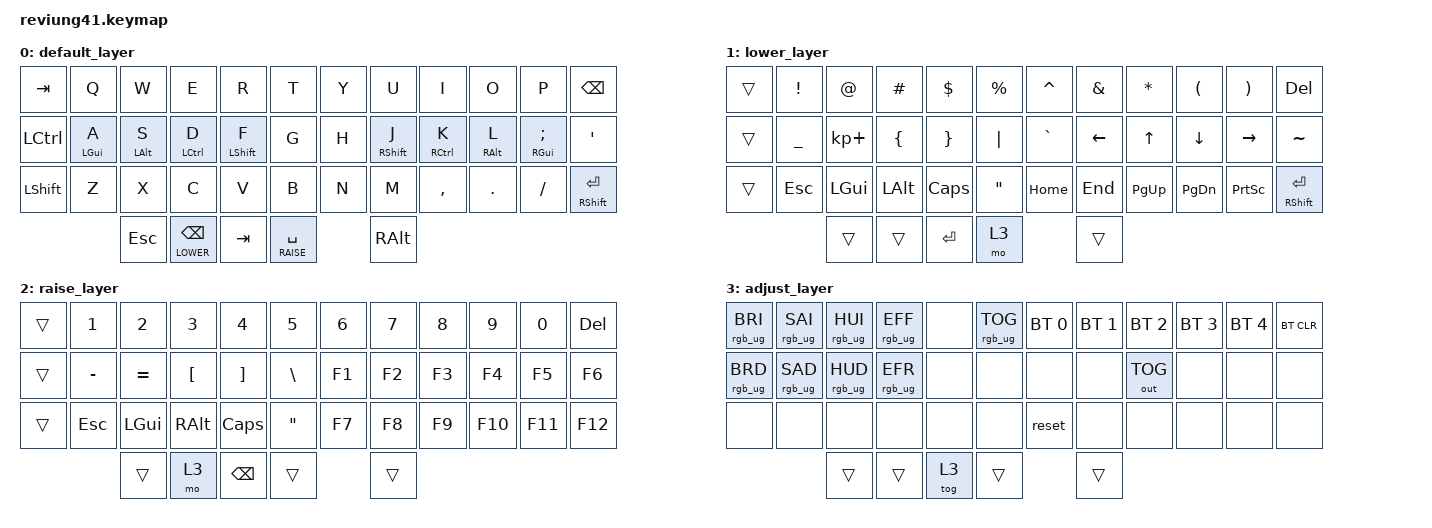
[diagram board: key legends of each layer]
/*
 * Copyright (c) 2020 The ZMK Contributors
 *
 * SPDX-License-Identifier: MIT
 */

#include <behaviors.dtsi>
#include <dt-bindings/zmk/keys.h>
#include <dt-bindings/zmk/bt.h>
#include <dt-bindings/zmk/rgb.h>
#include <dt-bindings/zmk/outputs.h>

#define DEFAULT 0
#define LOWER   1
#define RAISE   2

&mt {
    flavor = "tap-preferred";
    tapping-term-ms = <200>;
};

/ {
        keymap {
                compatible = "zmk,keymap";

                default_layer {
// -------------------------------------------------------------------------------------
// |  TAB |  Q   |  W   |  E    |  R    |  T  |   |  Y  |  U    |  I    |  O   |  P   |   BKSP   |
// | CTRL |GUI(A)|ALT(S)|CTRL(D)|SHFT(F)|  G  |   |  H  |SHFT(J)|CTRL(K)|ALT(L)|GUI(;)|   '      |
// | SHFT |  Z   |  X   |  C    |  V    |  B  |   |  N  |  M    |  ,    |  .   |  /   | SHFT(RET)|
//                   | ESC | LWR(BKSP) | TAB | RSE(SPC)  | ALT |
                        bindings = <
   &kp TAB   &kp Q     &kp W     &kp E      &kp R      &kp T &kp Y &kp U       &kp I      &kp O     &kp P        &kp BKSP
   &kp LCTRL &mt LGUI A &mt LALT S &mt LCTRL D &mt LSHFT F &kp G &kp H &mt RSHFT J  &mt RCTRL K &mt RALT L &mt RGUI SEMI &kp SQT
   &kp LSHFT &kp Z     &kp X     &kp C      &kp V      &kp B &kp N &kp M       &kp COMMA  &kp DOT   &kp FSLH     &mt RSHFT RET
                        &kp ESC  &lt LOWER BKSP &kp TAB &lt RAISE SPACE &kp RALT
                        >;
                };

                lower_layer {
// ----------------------------------------------------------------------------------
// |    |  !  |  @  |  #  |  $  |  %  |   |  ^  |  &  |  *  |  (  |  )  |    DEL    |
// |    |  _  |  +  |  {  |  }  | "|" |   |  `  | LFT | UP  | DWN | RGT |     ~     |
// |    | ESC | GUI | ALT | CAPS|  "  |   | HOME| END | PGUP| PGDN| PRSC| SHFT(RET) |
//                       |     |     | RET | ADJ |     |
                        bindings = <
   &trans &kp EXCL  &kp AT      &kp HASH &kp DLLR &kp PRCNT      &kp CARET &kp AMPS &kp ASTRK &kp LPAR  &kp RPAR  &kp DEL
   &trans &kp UNDERSCORE &kp KP_PLUS &kp LBRC &kp RBRC &kp PIPE       &kp GRAVE &kp LEFT &kp UP    &kp DOWN  &kp RIGHT &kp TILDE
   &trans &kp ESC   &kp LGUI    &kp LALT &kp CLCK &kp DQT        &kp HOME  &kp END  &kp PG_UP &kp PG_DN &kp PSCRN &mt RSHFT RET
                                 &trans      &trans       &kp RET        &mo 3       &trans
                        >;
                };

                raise_layer {
// -----------------------------------------------------------------------------------------
// |    |  1  |  2  |  3  |  4  |  5  |   |  6  |  7  |  8  |  9  |  0  | DEL |
// |    |  -  |  =  |  [  |  ]  |  \  |   | F1  | F2  | F3  | F4  | F5  | F6  |
// |    | ESC | GUI | ALT | CAPS|  "  |   | F7  | F8  | F9  | F10 | F11 | F12 |
//                       |     | ADJ | BKSP |    |     |
                        bindings = <
   &trans &kp N1    &kp N2    &kp N3    &kp N4    &kp N5        &kp N6    &kp N7    &kp N8    &kp N9    &kp N0    &kp DEL
   &trans &kp MINUS &kp EQUAL &kp LBKT  &kp RBKT  &kp BSLH      &kp F1    &kp F2    &kp F3    &kp F4    &kp F5    &kp F6
   &trans &kp ESC   &kp LGUI  &kp RALT  &kp CLCK  &kp DQT       &kp F7    &kp F8    &kp F9    &kp F10   &kp F11   &kp F12
                                &trans      &mo 3       &kp BSPC        &trans      &trans
                        >;
                };

                adjust_layer {
// -----------------------------------------------------------------------------------------
// | RGB BRI+ | RGB SAT+ | RGB HUE+ | RGB ANI+ |    | RGB TOG |   |  BT1  | BT2 | BT3 | BT4 | BT5 | BT CLR |
// | RGB BRI- | RGB SAT- | RGB HUE- | RGB ANI- |    |         |   |       |     |     |     |     |        |
// |          |          |          |          |    |         |   | RESET |     |     |     |     |        |
//                                              |     |     |     |     |     |
                        bindings = <
   &rgb_ug RGB_BRI &rgb_ug RGB_SAI &rgb_ug RGB_HUI &rgb_ug RGB_EFF &none &rgb_ug RGB_TOG    &bt BT_SEL 0 &bt BT_SEL 1 &bt BT_SEL 2 &bt BT_SEL 3 &bt BT_SEL 4 &bt BT_CLR
   &rgb_ug RGB_BRD &rgb_ug RGB_SAD &rgb_ug RGB_HUD &rgb_ug RGB_EFR &none &none              &none        &none        &out OUT_TOG &none        &none        &none
   &none           &none           &none           &none           &none &none              &reset       &none        &none        &none        &none        &none
                                                             &trans      &trans       &tog 3        &trans      &trans
                        >;
                };
        };
};
